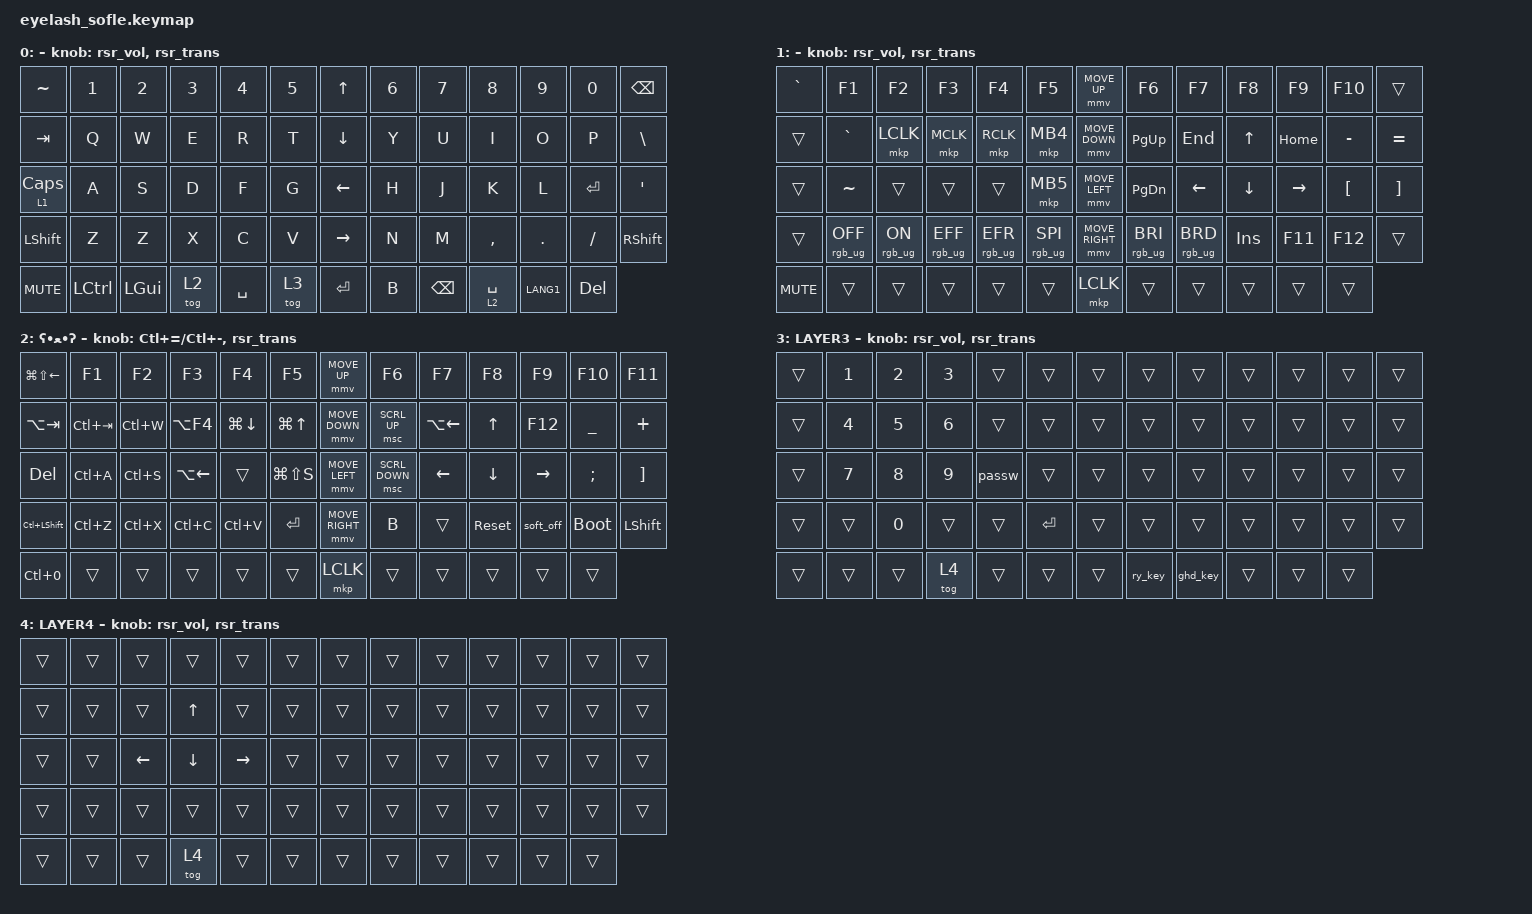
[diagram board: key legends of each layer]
#define ZMK_POINTING_DEFAULT_MOVE_VAL 1200
#define ZMK_POINTING_DEFAULT_SCRL_VAL 25

#include <input/processors.dtsi>
#include <zephyr/dt-bindings/input/input-event-codes.h>
#include <behaviors/runtime-sensor-rotate.dtsi>
#include <behaviors.dtsi>
#include <dt-bindings/zmk/keys.h>
#include <dt-bindings/zmk/pointing.h>
#include <dt-bindings/zmk/rgb.h>

&mmv_input_listener { input-processors = <&zip_xy_scaler 2 1>; };

&msc_input_listener { input-processors = <&zip_scroll_scaler 2 1>; };

&msc {
    acceleration-exponent = <1>;
    time-to-max-speed-ms = <100>;
    delay-ms = <0>;
};

&mmv {
    time-to-max-speed-ms = <500>;
    acceleration-exponent = <1>;
    trigger-period-ms = <16>;
};

&soft_off { hold-time-ms = <2000>; };

/ {
    scroll_encoder: scroll_encoder {
        compatible = "zmk,behavior-sensor-rotate";
        #sensor-binding-cells = <0>;
        bindings = <&msc SCRL_DOWN>, <&msc SCRL_UP>;

        tap-ms = <100>;
    };

    behaviors {
        rsr_vol: rsr_vol {
            compatible = "zmk,behavior-runtime-sensor-rotate";
            #sensor-binding-cells = <0>;
            tap-ms = <5>;
            cw-binding = <&kp C_VOL_UP>;
            ccw-binding = <&kp C_VOL_DN>;
        };

        rsr_trans: rsr_trans {
            compatible = "zmk,behavior-runtime-sensor-rotate";
            #sensor-binding-cells = <0>;
            tap-ms = <0>;
        };
    };

    combos {
        compatible = "zmk,combos";

        softoff {
            bindings = <&soft_off>;
            key-positions = <14 28 40>;
        };
    };

    macros {
        SHIFT_MCLK: SHIFT_MCLK {
            compatible = "zmk,behavior-macro";
            #binding-cells = <0>;
            bindings =
                <&macro_press>,
                <&kp LEFT_SHIFT>,
                <&macro_press>,
                <&mkp MB3>,
                <&macro_pause_for_release>,
                <&macro_release>,
                <&kp LEFT_SHIFT &mkp MB3>;

            label = "SHIFT_MCLK";
        };

        copy_alttab: copy_alttab {
            compatible = "zmk,behavior-macro";
            #binding-cells = <0>;
            bindings = <&kp LC(C) &kp LA(TAB)>;
            label = "COPY_ALTTAB";
        };

        paste_alttab: paste_alttab {
            compatible = "zmk,behavior-macro";
            #binding-cells = <0>;
            bindings = <&kp LC(V) &kp LA(TAB)>;
            label = "PASTE_ALTTAB";
        };

        ry_key: ry_key {
            compatible = "zmk,behavior-macro";
            #binding-cells = <0>;
            bindings = <&kp R &kp Y>;
            label = "RY_KEY";
        };

        ghd_key: ghd_key {
            compatible = "zmk,behavior-macro";
            #binding-cells = <0>;
            bindings = <&kp G &kp H &kp D>;
            label = "GHD_KEY";
        };

        passw: password {
            compatible = "zmk,behavior-macro";
            #binding-cells = <0>;
            bindings = <&kp R &kp Y &kp T &kp K &kp W &kp L &kp D &kp U &kp D &kp N8 &kp CARET &kp CARET &kp ENTER>;
            label = "PASSWORD";
        };
    };

    keymap {
        compatible = "zmk,keymap";

        layer0 {
            bindings = <
&kp TILDE   &kp N1     &kp N2        &kp N3  &kp N4     &kp N5    &kp UP_ARROW     &kp N6  &kp N7         &kp N8       &kp N9     &kp N0      &kp BACKSPACE
&kp TAB     &kp Q      &kp W         &kp E   &kp R      &kp T     &kp DOWN_ARROW   &kp Y   &kp U          &kp I        &kp O      &kp P       &kp BSLH
&lt 1 CAPS  &kp A      &kp S         &kp D   &kp F      &kp G     &kp LEFT_ARROW   &kp H   &kp J          &kp K        &kp L      &kp ENTER   &kp APOS
&kp LSHFT   &kp Z      &kp Z         &kp X   &kp C      &kp V     &kp RIGHT_ARROW  &kp N   &kp M          &kp COMMA    &kp DOT    &kp FSLH    &kp RIGHT_SHIFT
&kp C_MUTE  &kp LCTRL  &kp LEFT_GUI  &tog 2  &kp SPACE  &tog 3    &kp ENTER        &kp B   &kp BACKSPACE  &lt 2 SPACE  &kp LANG1  &kp DELETE
            >;

            sensor-bindings = <&rsr_vol &rsr_trans>;
            display-name = " ";
        };

        layer_1 {
            bindings = <
&kp GRAVE   &kp F1           &kp F2          &kp F3           &kp F4           &kp F5             &mmv MOVE_UP     &kp F6           &kp F7           &kp F8      &kp F9     &kp F10           &trans
&trans      &kp GRAVE        &mkp LCLK       &mkp MCLK        &mkp RCLK        &mkp MB4           &mmv MOVE_DOWN   &kp PG_UP        &kp END          &kp UP      &kp HOME   &kp MINUS         &kp EQUAL
&trans      &kp TILDE        &trans          &trans           &trans           &mkp MB5           &mmv MOVE_LEFT   &kp PG_DN        &kp LEFT         &kp DOWN    &kp RIGHT  &kp LEFT_BRACKET  &kp RIGHT_BRACKET
&trans      &rgb_ug RGB_OFF  &rgb_ug RGB_ON  &rgb_ug RGB_EFF  &rgb_ug RGB_EFR  &rgb_ug RGB_SPI    &mmv MOVE_RIGHT  &rgb_ug RGB_BRI  &rgb_ug RGB_BRD  &kp INSERT  &kp F11    &kp F12           &trans
&kp C_MUTE  &trans           &trans          &trans           &trans           &trans             &mkp LCLK        &trans           &trans           &trans      &trans     &trans
            >;

            sensor-bindings = <&rsr_vol &rsr_trans>;
            display-name = " ";
        };

        layer_2 {
            bindings = <
&kp LG(LS(LEFT))  &kp F1       &kp F2     &kp F3        &kp F4        &kp F5              &mmv MOVE_UP     &kp F6          &kp F7        &kp F8        &kp F9     &kp F10        &kp F11
&kp LA(TAB)       &kp LC(TAB)  &kp LC(W)  &kp LA(F4)    &kp LG(DOWN)  &kp LG(UP_ARROW)    &mmv MOVE_DOWN   &msc SCRL_UP    &kp LA(LEFT)  &kp UP_ARROW  &kp F12    &kp UNDER      &kp PLUS
&kp DELETE        &kp LC(A)    &kp LC(S)  &kp LA(LEFT)  &trans        &kp LG(LS(S))       &mmv MOVE_LEFT   &msc SCRL_DOWN  &kp LEFT      &kp DOWN      &kp RIGHT  &kp SEMICOLON  &kp RIGHT_BRACKET
&kp LC(LSHFT)     &kp LC(Z)    &kp LC(X)  &kp LC(C)     &kp LC(V)     &kp ENTER           &mmv MOVE_RIGHT  &kp B           &trans        &sys_reset    &soft_off  &bootloader    &kp LEFT_SHIFT
&kp LC(N0)        &trans       &trans     &trans        &trans        &trans              &mkp LCLK        &trans          &trans        &trans        &trans     &trans
            >;

            display-name = "ʕ•ﻌ•ʔ";
            sensor-bindings = <&inc_dec_kp LC(EQUAL) LC(MINUS) &rsr_trans>;
        };

        layer_3 {
            bindings = <
&trans  &kp N1  &kp N2  &kp N3  &trans  &trans       &trans  &trans   &trans    &trans  &trans  &trans  &trans
&trans  &kp N4  &kp N5  &kp N6  &trans  &trans       &trans  &trans   &trans    &trans  &trans  &trans  &trans
&trans  &kp N7  &kp N8  &kp N9  &passw  &trans       &trans  &trans   &trans    &trans  &trans  &trans  &trans
&trans  &trans  &kp N0  &trans  &trans  &kp ENTER    &trans  &trans   &trans    &trans  &trans  &trans  &trans
&trans  &trans  &trans  &tog 4  &trans  &trans       &trans  &ry_key  &ghd_key  &trans  &trans  &trans
            >;

            display-name = "LAYER3";
            sensor-bindings = <&rsr_vol &rsr_trans>;
        };

        layer_4 {
            bindings = <
&trans  &trans  &trans    &trans        &trans     &trans    &trans  &trans  &trans  &trans  &trans  &trans  &trans
&trans  &trans  &trans    &kp UP_ARROW  &trans     &trans    &trans  &trans  &trans  &trans  &trans  &trans  &trans
&trans  &trans  &kp LEFT  &kp DOWN      &kp RIGHT  &trans    &trans  &trans  &trans  &trans  &trans  &trans  &trans
&trans  &trans  &trans    &trans        &trans     &trans    &trans  &trans  &trans  &trans  &trans  &trans  &trans
&trans  &trans  &trans    &tog 4        &trans     &trans    &trans  &trans  &trans  &trans  &trans  &trans
            >;

            display-name = "LAYER4";
            sensor-bindings = <&rsr_vol &rsr_trans>;
        };
    };
};
